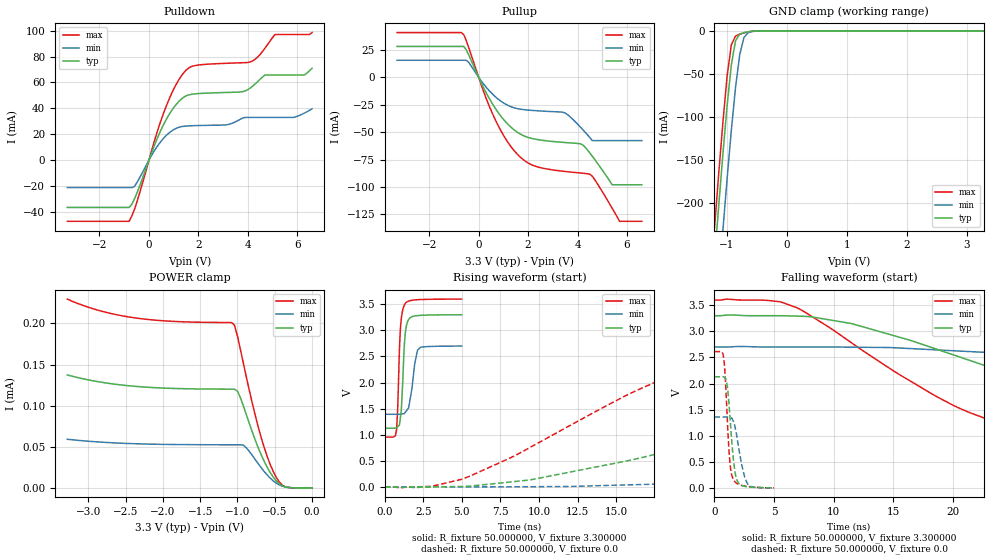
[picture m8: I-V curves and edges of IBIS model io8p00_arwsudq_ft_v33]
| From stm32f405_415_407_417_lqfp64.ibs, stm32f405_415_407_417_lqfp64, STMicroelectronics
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|   Model io8p00_arwsudq_ft_v33
[Model]  io8p00_arwsudq_ft_v33
Model_type I/O
Polarity   Non-Inverting
Enable   Active-Low
Vinl =   0.990000V
Vinh =   2.310000V
Vmeas =  1.650000V
Cref =   50.000000pF
Rref =   100.000000M
Vref =   0.0V
C_comp   2.911600pF   2.826500pF   2.975800pF
[Temperature Range]   25.000000   0.125000k   -40.000000
[Pullup Reference]   3.300000V   2.700000V   3.600000V
[Pulldown Reference]   0.0V   0.0V   0.0V
[POWER Clamp Reference]   3.300000V   2.700000V   3.600000V
[GND Clamp Reference]   0.0V   0.0V   0.0V
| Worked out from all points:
|   slope of the pulldown table from 0 to 0.495 V, typ, clamps not added: 20.9 ohm
|   slope of the pullup table from 0 to 0.495 V, typ, clamps not added: 22.6 ohm
|   GND clamp passes 1 mA (typ) near -0.62 V on its own axis
|   rising waveform, R_fixture 50.000000, V_fixture 3.300000: 20-80 % time 220ps typ, 367ps min, 188ps max; typ from 1.12 V to 3.3 V
|   rising waveform, R_fixture 50.000000, V_fixture 0.0: 20-80 % time 19.7ns typ, 51.6ns min, 10.4ns max; typ from 0 V to 2.13 V
|   falling waveform, R_fixture 50.000000, V_fixture 3.300000: 20-80 % time 18.7ns typ, 38.3ns min, 11.3ns max; typ from 3.3 V to 1.12 V
|   falling waveform, R_fixture 50.000000, V_fixture 0.0: 20-80 % time 462ps typ, 672ps min, 374ps max; typ from 2.13 V to 0 V
[Pulldown]
|Voltage   I(typ)   I(min)   I(max)
-3.3V     -36.38mA   -21.07mA   -47.08mA
-800mV    -36.38mA   -21.07mA   -47.08mA
-600mV    -30.5mA    -20.54mA   -38.69mA
700mV     31.4mA     19.11mA    41.71mA
1.2V      45.15mA    25.37mA    61.75mA
1.6V      50.35mA    26.5mA     71.06mA
3.1V      52.28mA    27.26mA    74.76mA
4.1V      55.71mA    33.02mA    75.8mA
4.7V      65.8mA     33.02mA    86.64mA
5.1V      65.8mA     33.02mA    97.03mA
6.3V      65.87mA    36.5mA     97.03mA
6.6V      70.93mA    39.72mA    98.49mA
[Pullup]
|Voltage   I(typ)   I(min)   I(max)
-3.3V     28.03mA    15.43mA    40.67mA
-700mV    28.03mA    15.43mA    40.67mA
-400mV    20.31mA    13.47mA    26.93mA
600mV     -25.77mA   -16.23mA   -35.14mA
1.6V      -50.64mA   -28.81mA   -70.96mA
2.3V      -56.49mA   -30.48mA   -81.16mA
3.5V      -59.53mA   -32.66mA   -85.92mA
4.2V      -61.45mA   -47.47mA   -87.46mA
4.5V      -69.1mA    -55.01mA   -88.4mA
5.4V      -98mA      -57.8mA    -119.3mA
5.7V      -98mA      -57.8mA    -131.3mA
6.6V      -98mA      -57.8mA    -131.3mA
[GND_clamp]
|Voltage   I(typ)   I(min)   I(max)
-3.3V     -2.321A    -2.397A    -2.298A
-1.2V     -266.4mA   -356.3mA   -229.4mA
-1.13V    -203.6mA   -293.1mA   -166.3mA
-1.06V    -143.2mA   -231.4mA   -106.2mA
-990mV    -86.95mA   -171.8mA   -52.65mA
-920mV    -39.66mA   -115.8mA   -16.36mA
-850mV    -11.49mA   -65.84mA   -6.11mA
-780mV    -3.834mA   -27.59mA   -3.88mA
-710mV    -2.09mA    -7.753mA   -2.381mA
-640mV    -1.147mA   -2.129mA   -1.22mA
-570mV    -523.9uA   -800uA     -476.8uA
3.28V     0A         0A         0A
[POWER_clamp]
|Voltage   I(typ)   I(min)   I(max)
-3.28V    137.3uA    59.14uA    229.6uA
-2.36V    123.4uA    53.65uA    206.6uA
-1.08V    120.1uA    52.41uA    201.1uA
-1.04V    120uA      52.41uA    198uA
-1V       117.7uA    52.4uA     184.5uA
-920mV    99.46uA    51.91uA    151.2uA
-720mV    48.42uA    29.12uA    73.51uA
-600mV    24.82uA    15.47uA    37.72uA
-520mV    13.1uA     8.45uA     19.84uA
-440mV    5.058uA    3.61uA     7.276uA
-360mV    1.193uA    1.129uA    1.311uA
0V        0A         0A         0A
[Ramp]
| variable   typ   min   max
dV/dt_r  1.27758/19.64364n   0.81588/51.74005n   1.56732/10.36922n
dV/dt_f  1.30572/18.71858n   0.78498/38.44047n   1.58792/11.30041n
R_load = 50.000000
[Rising Waveform]
R_fixture= 50.000000
V_fixture= 3.300000
V_fixture_min= 2.700000
V_fixture_max= 3.600000
|time   V(typ)   V(min)   V(max)
0s        1.124V     1.392V     953.5mV
760.8ps   1.132V     1.392V     1.092V
840.8ps   1.153V     1.391V     1.531V
951ps     1.188V     1.391V     2.644V
1.011ns   1.325V     1.394V     3.024V
1.071ns   1.469V     1.396V     3.224V
1.301ns   2.847V     1.418V     3.504V
1.552ns   3.212V     1.521V     3.563V
2.132ns   3.284V     2.626V     3.589V
4.985ns   3.3V       2.7V       3.6V
[Rising Waveform]
R_fixture= 50.000000
V_fixture= 0.0
V_fixture_min= 0.0
V_fixture_max= 0.0
|time   V(typ)   V(min)   V(max)
0s        121.1nV    275.7nV    640.8nV
5.005ns   7.053mV    -124uV     146.9mV
9.51ns    138.3mV    3.284mV    770.8mV
16.02ns   516.5mV    39.8mV     1.805V
19.52ns   762.2mV    67.82mV    2.203V
26.03ns   1.208V     156.9mV    2.466V
34.03ns   1.699V     288.4mV    2.558V
55.56ns   2.06V      687.6mV    2.606V
108.6ns   2.126V     1.269V     2.612V
249.2ns   2.129V     1.359V     2.612V
[Falling Waveform]
R_fixture= 50.000000
V_fixture= 3.300000
V_fixture_min= 2.700000
V_fixture_max= 3.600000
|time   V(typ)   V(min)   V(max)
0s        3.3V       2.7V       3.6V
7.007ns   3.292V     2.7V       3.443V
11.51ns   3.148V     2.697V     2.777V
18.52ns   2.666V     2.646V     1.763V
22.52ns   2.357V     2.599V     1.348V
32.53ns   1.662V     2.394V     1.061V
47.05ns   1.268V     2.064V     995.1mV
63.06ns   1.184V     1.719V     967.9mV
84.58ns   1.147V     1.536V     956.9mV
249.2ns   1.124V     1.392V     953.5mV
[Falling Waveform]
R_fixture= 50.000000
V_fixture= 0.0
V_fixture_min= 0.0
V_fixture_max= 0.0
|time   V(typ)   V(min)   V(max)
0s        2.129V     1.359V     2.612V
640.6ps   2.129V     1.359V     2.602V
790.8ps   2.125V     1.358V     2.465V
1.001ns   2.047V     1.358V     1.676V
1.221ns   1.594V     1.356V     696.1mV
1.361ns   1.158V     1.345V     351.9mV
1.552ns   626.6mV    1.29V      177mV
1.902ns   138.1mV    945.5mV    81.88mV
2.713ns   22.69mV    103mV      29.55mV
4.985ns   121.1nV    275.7nV    640.8nV
